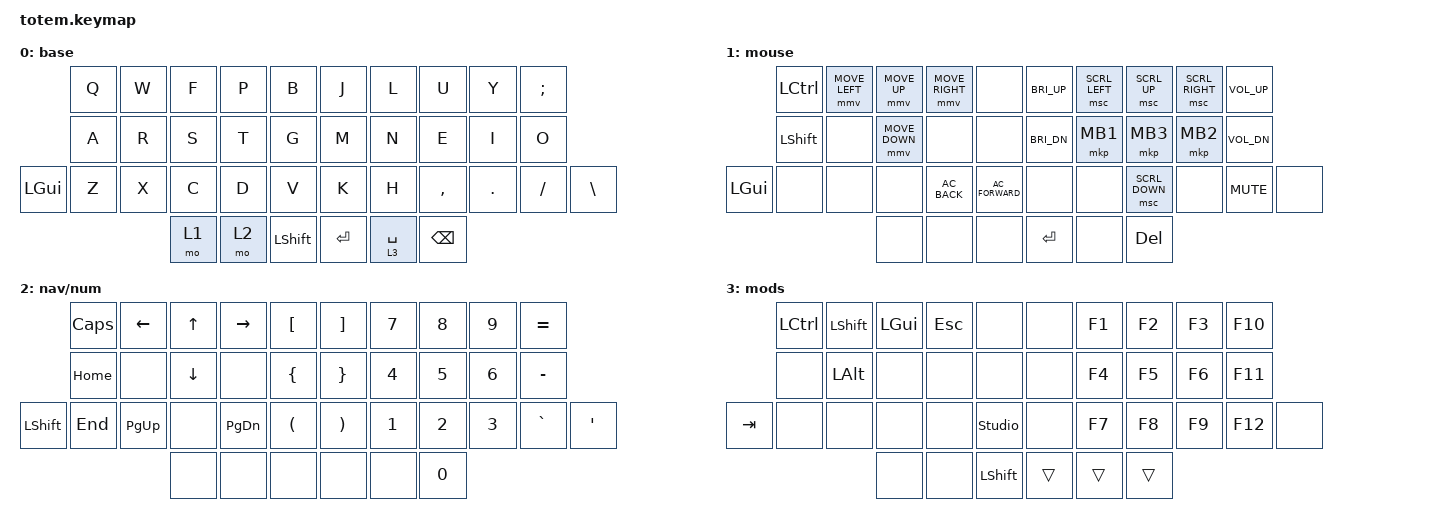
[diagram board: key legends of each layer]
#include <behaviors.dtsi>
#include <dt-bindings/zmk/keys.h>
#include <dt-bindings/zmk/pointing.h>

/ {
    keymap {
        compatible = "zmk,keymap";

        // Layer 0 - Base (Colemak-DH)
        //
        //         Q      W      F      P      B          J      L      U      Y      ;
        //         A      R      S      T      G          M      N      E      I      O
        // LGUI    Z      X      C      D      V          K      H      ,      .      /      BSLASH
        //                       MO1    MO2    LSHIFT     ENTER  L3SPC  BSPC

        base {
            display-name = "base";
            bindings = <
                           &kp Q      &kp W      &kp F      &kp P      &kp B          &kp J      &kp L      &kp U      &kp Y      &kp SEMI
                           &kp A      &kp R      &kp S      &kp T      &kp G          &kp M      &kp N      &kp E      &kp I      &kp O
                &kp LGUI   &kp Z      &kp X      &kp C      &kp D      &kp V          &kp K      &kp H      &kp COMMA  &kp DOT    &kp SLASH  &kp BSLH
                                                 &mo 1      &mo 2      &kp LSHIFT     &kp ENTER  &lt 3 SPACE &kp BSPC
            >;
        };

        // Layer 1 - Mouse / Media
        //
        //         LCTRL  MS_L   MS_U   MS_R   ---        BRIU   WH_L   WH_U   WH_R   VOLU
        //         LSHIFT ---    MS_D   ---    ---        BRID   BTN1   BTN3   BTN2   VOLD
        // LGUI    ---    ---    ---    WBAK   WFWD       ---    ---    WH_D   ---    MUTE   ---
        //                       ---    ---    ---        ENTER  ---    DEL

        mouse {
            display-name = "mouse";
            bindings = <
                           &kp LCTRL  &mmv MOVE_LEFT  &mmv MOVE_UP    &mmv MOVE_RIGHT  &none          &kp C_BRI_UP  &msc SCRL_LEFT  &msc SCRL_UP    &msc SCRL_RIGHT  &kp C_VOL_UP
                           &kp LSHIFT &none           &mmv MOVE_DOWN  &none            &none          &kp C_BRI_DN  &mkp MB1        &mkp MB3        &mkp MB2         &kp C_VOL_DN
                &kp LGUI   &none      &none           &none           &kp C_AC_BACK    &kp C_AC_FORWARD  &none      &none           &msc SCRL_DOWN  &none            &kp C_MUTE   &none
                                                      &none           &none            &none          &kp ENTER     &none           &kp DEL
            >;
        };

        // Layer 2 - Navigation / Numbers
        //
        //         CAPS   LEFT   UP     RIGHT  [          ]      7      8      9      =
        //         HOME   ---    DOWN   ---    {          }      4      5      6      -
        // LSHIFT  END    PGUP   ---    PGDN   (          )      1      2      3      `      '
        //                       ---    ---    ---        ---    ---    0

        nav_num {
            display-name = "nav/num";
            bindings = <
                           &kp CAPS   &kp LEFT   &kp UP     &kp RIGHT  &kp LBKT       &kp RBKT   &kp N7     &kp N8     &kp N9     &kp EQUAL
                           &kp HOME   &none      &kp DOWN   &none      &kp LBRC       &kp RBRC   &kp N4     &kp N5     &kp N6     &kp MINUS
                &kp LSHIFT &kp END    &kp PG_UP  &none      &kp PG_DN  &kp LPAR       &kp RPAR   &kp N1     &kp N2     &kp N3     &kp GRAVE  &kp SQT
                                                 &none      &none      &none          &none      &none      &kp N0
            >;
        };

        // Layer 3 - Mods / Function
        //
        //         LCTRL  LSHIFT LGUI   ESC    ---        ---    F1     F2     F3     F10
        //         ---    LALT   ---    ---    ---        ---    F4     F5     F6     F11
        // TAB     ---    ---    ---    ---    UNLOCK     ---    F7     F8     F9     F12    ---
        //                       ---    ---    LSHIFT     TRANS  TRANS  TRANS

        mods {
            display-name = "mods";
            bindings = <
                           &kp LCTRL  &kp LSHIFT  &kp LGUI   &kp ESC    &none          &none      &kp F1     &kp F2     &kp F3     &kp F10
                           &none      &kp LALT    &none      &none      &none          &none      &kp F4     &kp F5     &kp F6     &kp F11
                &kp TAB    &none      &none       &none      &none      &studio_unlock &none      &kp F7     &kp F8     &kp F9     &kp F12    &none
                                                  &none      &none      &kp LSHIFT     &trans     &trans     &trans
            >;
        };

        // Layer 4 - Reserved for ZMK Studio
        extra {
            status = "reserved";
        };
    };
};

/* zmk-behavior-overrides */
&mt {
    tapping-term-ms = <199>;
};
/* end-zmk-behavior-overrides */
